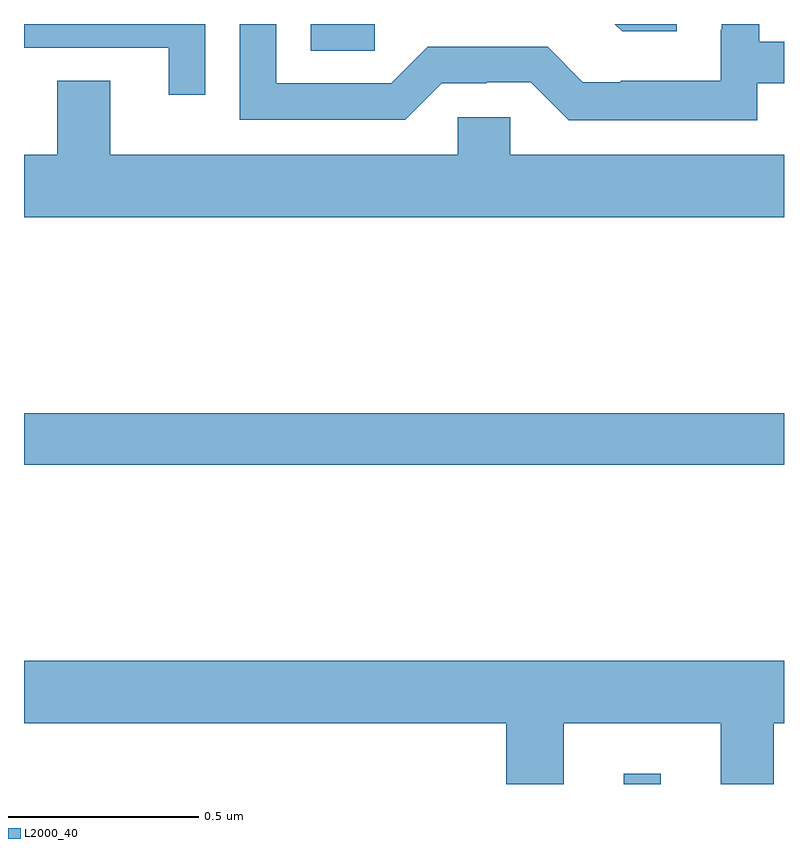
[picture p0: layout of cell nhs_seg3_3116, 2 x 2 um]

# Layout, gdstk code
import gdstk
lib = gdstk.Library(unit=1e-6, precision=1e-09)
def R(c, l, rs):  # rectangles x0, y0, x1, y1
    for r in rs: c.add(gdstk.rectangle(r[:2], r[2:], *l))
def P(c, l, *ps):  # polygons
    for p in ps: c.add(gdstk.Polygon(p, *l))
L2000_40 = (2000, 40)

nhs_seg3_3116 = lib.new_cell('nhs_seg3_3116')
R(nhs_seg3_3116, L2000_40, [(150.578,723.4,150.676,723.427), (149,724.24,151,724.376), (149.754,725.329,149.923,725.4)])
P(nhs_seg3_3116, L2000_40, [(149.477,725.4),(149,725.4),(149,725.337),(149.381,725.337),(149.381,725.214),(149.477,725.214)],
  [(150.718,725.4),(150.555,725.4),(150.574,725.381),(150.718,725.381)],
  [(150.93,725.244),(151,725.244),(151,725.353),(150.935,725.353),(150.935,725.4),(150.836,725.4),(150.836,725.385),(150.834,725.385),(150.834,725.251),(150.571,725.251),(150.571,725.247),(150.471,725.247),(150.378,725.34),(150.063,725.34),(149.967,725.244),(149.664,725.244),(149.664,725.4),(149.568,725.4),(149.568,725.148),(150.003,725.148),(150.099,725.244),(150.218,725.244),(150.218,725.247),(150.333,725.247),(150.433,725.147),(150.93,725.147)],
  [(151,725.056),(150.279,725.056),(150.279,725.154),(150.141,725.154),(150.141,725.056),(149.227,725.056),(149.227,725.251),(149.087,725.251),(149.087,725.056),(149,725.056),(149,724.892),(151,724.892)],
  [(150.421,723.56),(150.833,723.56),(150.833,723.4),(150.973,723.4),(150.973,723.56),(151,723.56),(151,723.724),(149,723.724),(149,723.56),(150.269,723.56),(150.269,723.4),(150.421,723.4)])

lib.write_gds('nhs_seg3_3116.gds')
